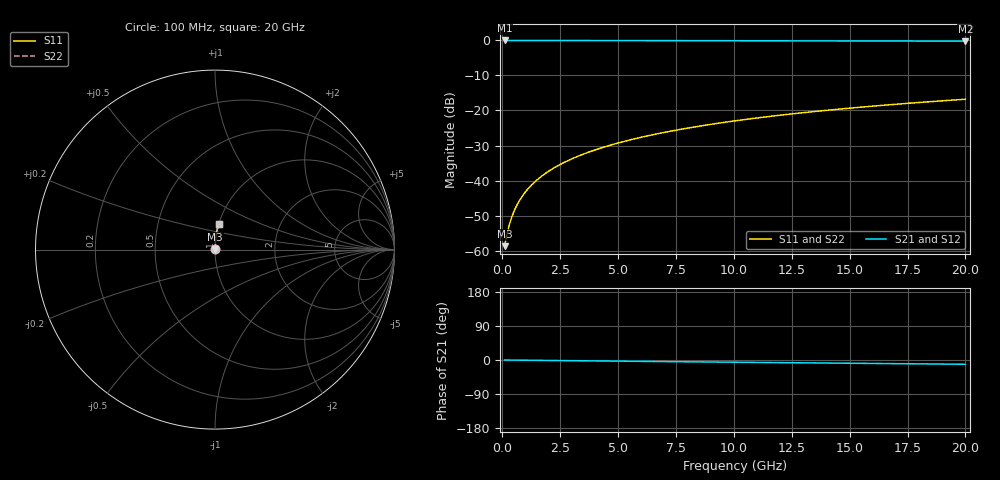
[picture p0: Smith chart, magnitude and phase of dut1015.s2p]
! Touchstone file exported from HFSS 2024.1.0
!  File:  C:/UserFiles/LocalFiles/RDL_TSV_Batchsim/temp_RDL_bottom_1015_1780050516.aedt
!  Generated:  06:31:07 PM May 29, 2026
!  Design:  RDL_bottom
!  Project:  temp_RDL_bottom_1015_1780050516
!  Setup:  Setup1
!  Solution:  Sweep
! Variables:
!  dtsv = 10.80580581um
!  hbump = 3um
!  htsv = 98.43um
!  ldown = 106.84um
!  lrdl = 100um
!  p = 40
!  p1 = 52.46um
!  rhole = 1um
!  t = 450um
!  tdown = 3.03um
!  trdl = 3.915915916um
!  wdown = 18.99um
!  wrdl = 20um
# GHz S MA R 50.000000
! Terminal data exported
! Port[1] = RDL1_T1
! Port[2] = RDL1_T2
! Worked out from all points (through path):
!   200 points, 100 MHz to 20 GHz, reference 50 ohm
!   highest |S21| = -0.01 dB at 100 MHz (marker M1); lowest = -0.2 dB at 20 GHz (marker M2)
!   group delay of S21, straight-line fit = 1.55 ps
!   lowest |S11| = -58.7 dB at 100 MHz (marker M3), VSWR 1.00, Z = 50.1 + j0.0714 ohm
!   |S11| at or under -10 dB: start of sweep to end of sweep
!   |S22| runs from -58.7 to -16.8 dB; largest |S21 - S12| = 7.7e-15
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0.1  0.001158 38.0  0.9991 -0.1  0.9991 -0.1  0.001158 38.0
! Gamma 0 0 0 0
! Port Impedance 50 0 50 0
0.2  0.001697 56.6  0.9991 -0.1  0.9991 -0.1  0.001697 56.6
0.3  0.002317 65.5  0.999 -0.2  0.999 -0.2  0.002317 65.5
0.4  0.002959 70.5  0.999 -0.3  0.999 -0.3  0.002959 70.5
0.5  0.003608 73.8  0.999 -0.3  0.999 -0.3  0.003608 73.8
0.6  0.00426 76.1  0.9989 -0.4  0.9989 -0.4  0.00426 76.1
0.8  0.005572 79.2  0.9989 -0.5  0.9989 -0.5  0.005572 79.2
1.1  0.007555 81.9  0.9988 -0.7  0.9988 -0.7  0.007555 81.9
1.5  0.01022 84.0  0.9986 -0.9  0.9986 -0.9  0.01022 84.0
1.8  0.01224 85.0  0.9985 -1.1  0.9985 -1.1  0.01224 85.0
2.1  0.01426 85.7  0.9983 -1.3  0.9983 -1.3  0.01426 85.7
2.7  0.01835 86.7  0.9979 -1.7  0.9979 -1.7  0.01835 86.7
3.5  0.02385 87.4  0.9973 -2.1  0.9973 -2.1  0.02385 87.4
4.2  0.02872 87.7  0.9967 -2.6  0.9967 -2.6  0.02872 87.7
5  0.03436 87.9  0.9959 -3.0  0.9959 -3.0  0.03436 87.9
5.9  0.04078 88.0  0.995 -3.6  0.995 -3.6  0.04078 88.0
6.8  0.04728 87.9  0.9939 -4.1  0.9939 -4.1  0.04728 87.9
8.3  0.05825 87.5  0.9921 -4.9  0.9921 -4.9  0.05825 87.5
10.1  0.07156 86.7  0.9899 -5.9  0.9899 -5.9  0.07156 86.7
13.4  0.09612 85.0  0.9856 -7.7  0.9856 -7.7  0.09612 85.0
16.7  0.1206 83.1  0.9813 -9.5  0.9813 -9.5  0.1206 83.1
20  0.1448 81.2  0.9768 -11.3  0.9768 -11.3  0.1448 81.2
